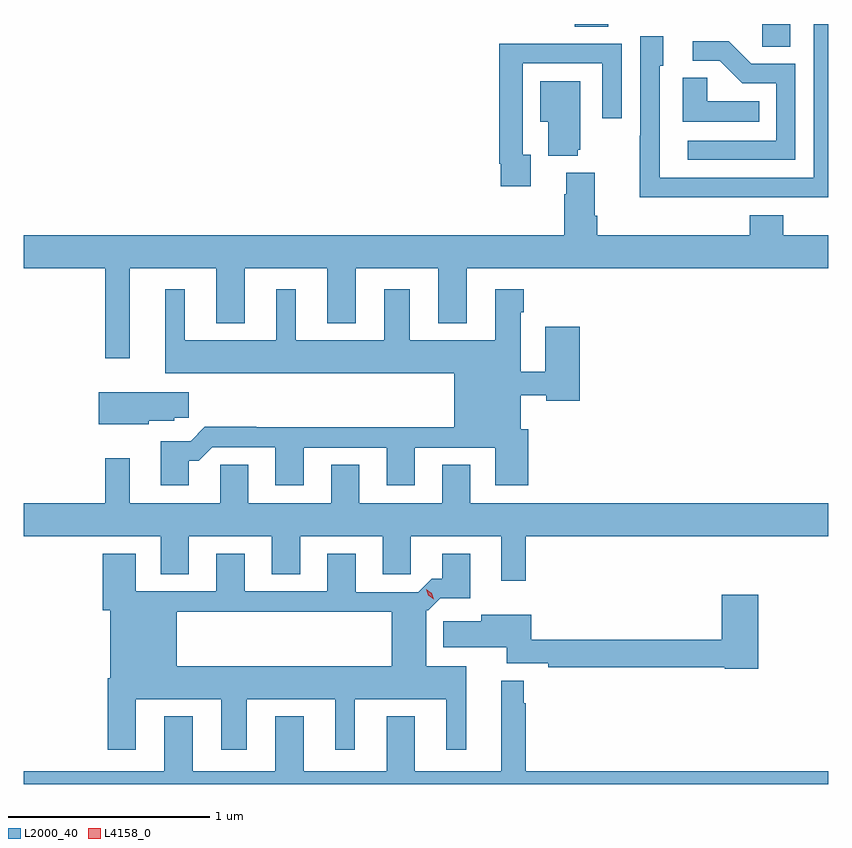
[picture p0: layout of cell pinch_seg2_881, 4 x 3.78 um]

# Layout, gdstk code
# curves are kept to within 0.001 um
import gdstk
lib = gdstk.Library(unit=1e-6, precision=1e-09)
def R(c, l, rs):  # rectangles x0, y0, x1, y1
    for r in rs: c.add(gdstk.rectangle(r[:2], r[2:], *l))
def P(c, l, *ps):  # polygons
    for p in ps: c.add(gdstk.Polygon(p, *l))
L2000_40 = (2000, 40)
L4158_0 = (4158, 0)

pinch_seg2_881 = lib.new_cell('pinch_seg2_881')
R(pinch_seg2_881, L2000_40, [(434.154,587.464,434.293,587.577), (433.223,587.563,433.388,587.577)])
P(pinch_seg2_881, L2000_40, [(434.009,586.716),(434.483,586.716),(434.483,587.577),(434.409,587.577),(434.409,586.812),(433.644,586.812),(433.644,587.37),(433.663,587.37),(433.663,587.515),(433.548,587.515),(433.548,587.021),(433.546,587.021),(433.546,586.715),(434.009,586.715)],
  [(434.319,587.379),(434.1,587.379),(433.987,587.492),(433.809,587.492),(433.809,587.394),(433.943,587.394),(434.054,587.283),(434.223,587.283),(434.223,586.998),(433.785,586.998),(433.785,586.902),(434.319,586.902)],
  [(433.003,586.926),(432.963,586.926),(432.963,587.382),(433.359,587.382),(433.359,587.109),(433.455,587.109),(433.455,587.478),(433.139,587.478),(433.139,587.48),(432.847,587.48),(432.847,586.882),(432.855,586.882),(432.855,586.77),(433.003,586.77)],
  [(434.138,587.194),(433.881,587.194),(433.881,587.309),(433.76,587.309),(433.76,587.09),(434.138,587.09)],
  [(433.238,586.953),(433.249,586.953),(433.249,587.293),(433.052,587.293),(433.052,587.09),(433.091,587.09),(433.091,586.922),(433.238,586.922)],
  [(431.011,586.364),(431.441,586.364),(431.441,586.091),(431.581,586.091),(431.581,586.364),(431.993,586.364),(431.993,586.091),(432.133,586.091),(432.133,586.364),(432.545,586.364),(432.545,586.091),(432.685,586.091),(432.685,586.364),(434.483,586.364),(434.483,586.528),(434.258,586.528),(434.258,586.627),(434.093,586.627),(434.093,586.528),(433.334,586.528),(433.334,586.624),(433.321,586.624),(433.321,586.837),(433.181,586.837),(433.181,586.73),(433.169,586.73),(433.169,586.528),(430.483,586.528),(430.483,586.364),(430.89,586.364),(430.89,585.915),(431.011,585.915)],
  [(431.305,585.407),(431.354,585.407),(431.421,585.474),(431.735,585.474),(431.735,585.285),(431.875,585.285),(431.875,585.471),(432.287,585.471),(432.287,585.285),(432.427,585.285),(432.427,585.471),(432.827,585.471),(432.827,585.285),(432.992,585.285),(432.992,585.564),(432.955,585.564),(432.955,585.731),(433.08,585.731),(433.08,585.704),(433.247,585.704),(433.247,586.072),(433.076,586.072),(433.076,585.848),(432.955,585.848),(432.955,586.145),(432.968,586.145),(432.968,586.258),(432.827,586.258),(432.827,586.006),(432.403,586.006),(432.403,586.258),(432.275,586.258),(432.275,586.006),(431.836,586.006),(431.836,586.258),(431.738,586.258),(431.738,586.006),(431.284,586.006),(431.284,586.258),(431.186,586.258),(431.186,585.842),(432.623,585.842),(432.623,585.572),(431.639,585.572),(431.639,585.575),(431.384,585.575),(431.313,585.504),(431.165,585.504),(431.165,585.285),(431.305,585.285)],
  [(431.106,585.605),(431.232,585.605),(431.232,585.619),(431.305,585.619),(431.305,585.748),(430.856,585.748),(430.856,585.587),(431.106,585.587)],
  [(432.979,585.032),(434.483,585.032),(434.483,585.196),(432.703,585.196),(432.703,585.386),(432.563,585.386),(432.563,585.196),(432.151,585.196),(432.151,585.386),(432.011,585.386),(432.011,585.196),(431.599,585.196),(431.599,585.386),(431.46,585.386),(431.46,585.196),(431.011,585.196),(431.011,585.418),(430.89,585.418),(430.89,585.196),(430.483,585.196),(430.483,585.032),(431.165,585.032),(431.165,584.842),(431.305,584.842),(431.305,585.032),(431.717,585.032),(431.717,584.842),(431.857,584.842),(431.857,585.032),(432.269,585.032),(432.269,584.842),(432.408,584.842),(432.408,585.032),(432.857,585.032),(432.857,584.811),(432.979,584.811)],
  [(430.901,584.326),(430.901,583.971),(431.041,583.971),(431.041,584.222),(431.465,584.222),(431.465,583.971),(431.593,583.971),(431.593,584.222),(432.032,584.222),(432.032,583.971),(432.13,583.971),(432.13,584.222),(432.584,584.222),(432.584,583.971),(432.682,583.971),(432.682,584.386),(432.484,584.386),(432.484,584.664),(432.495,584.664),(432.554,584.723),(432.703,584.723),(432.703,584.944),(432.563,584.944),(432.563,584.821),(432.511,584.821),(432.444,584.754),(432.133,584.754),(432.133,584.944),(431.993,584.944),(431.993,584.757),(431.581,584.757),(431.581,584.944),(431.441,584.944),(431.441,584.757),(431.041,584.757),(431.041,584.944),(430.877,584.944),(430.877,584.664),(430.913,584.664),(430.913,584.386),(431.245,584.386),(431.245,584.656),(432.314,584.656),(432.314,584.386),(430.913,584.386),(430.913,584.326)],
  [(434.135,584.74),(433.952,584.74),(433.952,584.516),(433.007,584.516),(433.007,584.641),(432.758,584.641),(432.758,584.61),(432.569,584.61),(432.569,584.48),(432.884,584.48),(432.884,584.4),(433.09,584.4),(433.09,584.38),(433.968,584.38),(433.968,584.372),(434.135,584.372)],
  [(432.979,584.201),(432.968,584.201),(432.968,584.314),(432.857,584.314),(432.857,583.864),(432.427,583.864),(432.427,584.137),(432.287,584.137),(432.287,583.864),(431.875,583.864),(431.875,584.137),(431.735,584.137),(431.735,583.864),(431.323,583.864),(431.323,584.137),(431.183,584.137),(431.183,583.864),(430.483,583.864),(430.483,583.8),(434.483,583.8),(434.483,583.864),(432.979,583.864)])
P(pinch_seg2_881, L4158_0, [(432.521,584.717),(432.494,584.737),(432.484,584.769),(432.484,584.769),(432.484,584.769),(432.511,584.749),(432.522,584.717),(432.522,584.717)])

lib.write_gds('pinch_seg2_881.gds')
